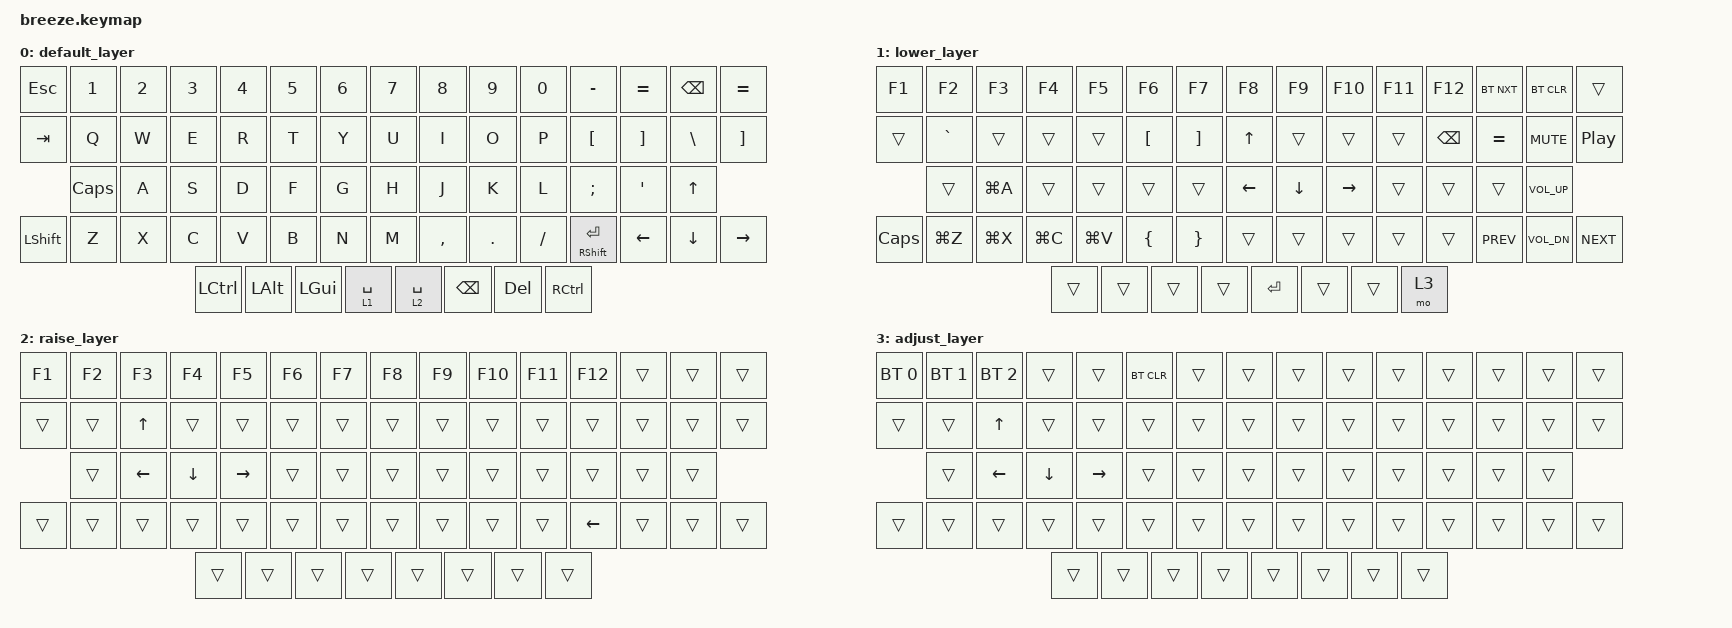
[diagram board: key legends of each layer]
/*
 * Copyright (c) 2022 The ZMK Contributors
 *
 * SPDX-License-Identifier: MIT
 */

#include <behaviors.dtsi>
#include <dt-bindings/zmk/keys.h>
#include <dt-bindings/zmk/bt.h>
#include <dt-bindings/zmk/ext_power.h>

/ {
	keymap {
		compatible = "zmk,keymap";

		default_layer {

// Ref: https://zmkfirmware.dev/docs/codes/

// ----------------------------------------------------------------------------------------------------------------------------------
// |  ESC  |  1  |  2  |  3    |  4   |  5   |                               |  6   |  7    |  8    |  9   |   0   | -/_  | |  +=  | BKSP | PG UP|
// |  TAB  |  Q  |  W  |  E    |  R   |  T   |                               |  Y   |  U    |  I    |  O   |   P   |  [{   | |  ]}  |    \|   | PG DN|
// |  CAPS |  A  |  S  |  D    |  F   |  G   |                               |  H   |  J    |  K    |  L   |   ;   |  '   | |     |    UP   |      |
// |  SHFT |  Z  |  X  |  C    |  V   |  B   |                               |  N   |  M    |  ,    |  .   |   /   |  RET | |  L  |    DN   |  R   |
//                     |  GUI  | ALT  | LCTRL | LOWER/SPACE |   | RAISE/SPACE | BSPC |  DEL  | CTRL  |
			bindings = <
&kp ESC   &kp N1 &kp N2 &kp N3 &kp N4 &kp N5         	&kp N6 &kp N7 &kp N8    &kp N9   &kp N0    &kp MINUS               &kp EQUAL &kp BSPC &kp EQUAL
&kp  TAB   &kp Q  &kp W  &kp E  &kp R  &kp T       	&kp Y  &kp U  &kp I     &kp O    &kp P     &kp LEFT_BRACKET                &kp RBKT &kp BACKSLASH        &kp RBKT
&kp CAPS  &kp A  &kp S  &kp D  &kp F  &kp G      	&kp H  &kp J  &kp K     &kp L    &kp SEMI  &kp APOS                         &kp UP
&kp LSHFT &kp Z  &kp X  &kp C  &kp V  &kp B        	&kp N  &kp M  &kp COMMA &kp DOT  &kp FSLH  &mt RSHFT RET           &kp LEFT &kp DOWN &kp RIGHT
       &kp LCTRL &kp LALT &kp LGUI &lt 1 SPACE      &lt 2 SPACE &kp BSPC &kp DEL &kp RCTRL
			>;
		};

		lower_layer {
// ---------------------------------------------------------------------------------------------------------------------------------- 
// |   F1  |  F2  |  F3 |  F4  |  F5   |  F6  |                   |  F7  |  F8  |  F9  |  F10 |  F11  |  F12  | | BTNXT | BTCLR|         | 
// |   `~    |      |     |      |       |  [   |                 |  ]   |  UP  |      |      |       |  BSPC | |   +=   | Mute | Ply/PAS |
// |       | CMD-A|     |      |       |      |                   |  L   |  DN  |  R   |      |       |       | |       | Vol+ |         |
// |  CAPS | CMD-Z| CUT | COPY | PASTE |  {   |                   |  }   |      |      |      |       |       | | Prev  | Vol- |   Next  | 
//                |     |      |       |      |       		  |  RET |      |      |ADJUST|
			bindings = <
&kp F1   &kp F2    &kp F3    &kp F4    &kp F5    &kp F6        		&kp F7 	 &kp F8 &kp F9 &kp F10 &kp F11 &kp F12           &bt BT_NXT &bt BT_CLR   &trans
&trans   &kp GRAVE    &trans    &trans    &trans    &kp LBKT        	&kp RBKT &kp UP &trans &trans  &trans  &kp BSPC      	 &kp EQUAL  &kp C_MUTE   &kp C_PLAY_PAUSE
&trans   &kp LG(A) &trans    &trans    &trans    &trans        		&kp LEFT   &kp DOWN &kp RIGHT &trans  &trans  &trans            	    &kp C_VOL_UP
&kp CAPS &kp LG(Z) &kp LG(X) &kp LG(C) &kp LG(V) &kp LBRC		&kp RBRC &trans &trans &trans  &trans  &trans      	 &kp C_PREV &kp C_VOL_DN &kp C_NEXT
		    &trans &trans &trans &trans            &kp RET  &trans &trans &mo 3        
			>;
		};

		raise_layer {
// ---------------------------------------------------------------------------------------------------------------------------------- 
// |  F1 |  F2  |  F3  |  F4  |  F5  |  F6  |                   |  F7  |  F8  |  F9  |  F10 |  F11  |  F12  | |     |      |      | 
// |     |      |  UP  |      |      |      |                   |      |      |      |      |       |       | |     |      |      |
// |     |   L  |  DN  |  R   |      |      |                   |      |      |      |      |       |       | |     |      |      |
// |     |      |      |      |      |      |                   |      |      |      |      |       |   L   | |     |      |      |
//                     |      |      |      |     |       |     |      |      |      |
			bindings = <
&kp F1 &kp F2 &kp F3 &kp F4 &kp F5 &kp F6        	  &kp F7 &kp F8 &kp F9 &kp F10 &kp F11 &kp F12        &trans &trans &trans
&trans &trans &kp UP &trans &trans &trans        			&trans &trans &trans &trans &trans &trans        &trans &trans &trans
&trans &kp LEFT &kp DOWN &kp RIGHT &trans &trans          	  &trans &trans &trans &trans &trans &trans        	     &trans
&trans &trans &trans &trans &trans &trans        	  &trans &trans &trans &trans &trans &kp LEFT          &trans &trans &trans
		  &trans &trans &trans &trans        &trans &trans &trans &trans
			>;
		};
		
		adjust_layer {
// ---------------------------------------------------------------------------------------------------------------------------------- 
// | BT1 | BT2 | BT3 |      |      | BT_CLR |                   |      |       |       |      |       |       | |     |      |      | 
// |     |  UP  |    |      |      |        |                   |      |       |       |      |       |       | |     |      |      |
// |  L  |  DN  | R  |      |      |        |                   |      |       |       |      |       |       | |     |      |      |
// |     |     |     |      |      |        |                   |      |       |       |      |       |       | |     |      |      |
//                   |      |      |        |        |  |       |      |       |       |
			bindings = <
&bt BT_SEL 0 &bt BT_SEL 1 &bt BT_SEL 2 &trans &trans &bt BT_CLR        	&trans &trans &trans &trans &trans &trans        &trans &trans &trans
&trans &trans &kp UP &trans &trans &trans        			&trans &trans &trans &trans &trans &trans        &trans &trans &trans
&trans &kp LEFT &kp DOWN &kp RIGHT &trans &trans        			&trans &trans &trans &trans &trans &trans        	&trans
&trans &trans &trans &trans &trans &trans       			&trans &trans &trans &trans &trans &trans        &trans &trans &trans
			&trans &trans &trans &trans        &trans &trans &trans &trans
			>;
		};
	};
};
